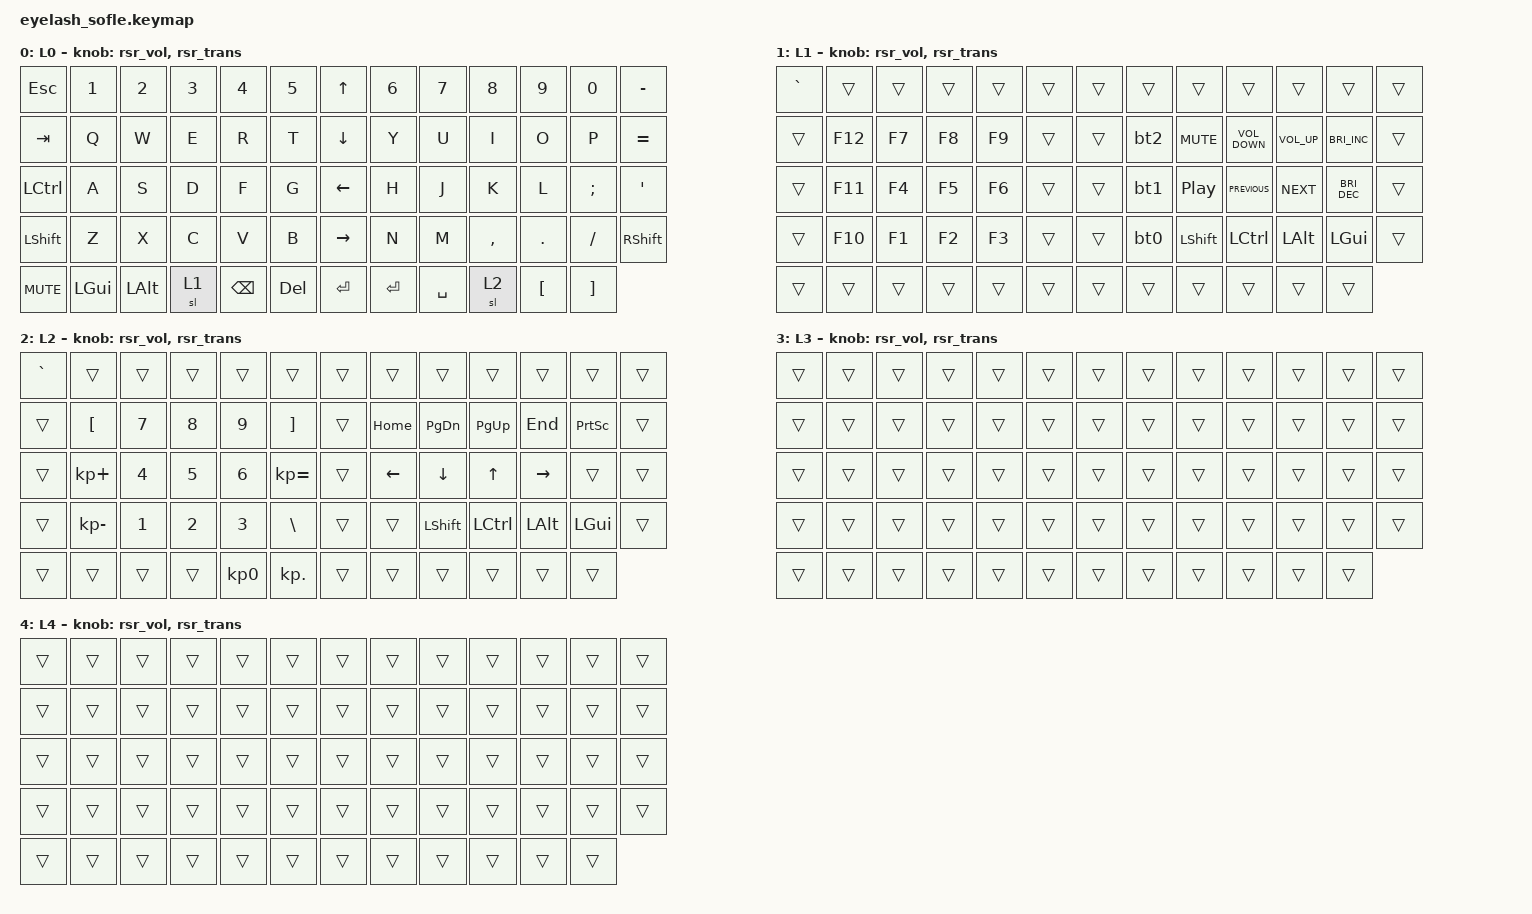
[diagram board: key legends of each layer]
#define ZMK_POINTING_DEFAULT_MOVE_VAL 1200  // 600
#define ZMK_POINTING_DEFAULT_SCRL_VAL 25   // 10

#include <input/processors.dtsi>
#include <zephyr/dt-bindings/input/input-event-codes.h>
#include <behaviors/runtime-sensor-rotate.dtsi>
#include <behaviors.dtsi>
#include <dt-bindings/zmk/bt.h>
#include <dt-bindings/zmk/keys.h>
#include <dt-bindings/zmk/outputs.h>
#include <dt-bindings/zmk/pointing.h>

&mmv_input_listener { input-processors = <&zip_xy_scaler 2 1>; };

&msc_input_listener { input-processors = <&zip_scroll_scaler 2 1>; };

&msc {
    acceleration-exponent = <1>;      // 0
    time-to-max-speed-ms = <100>;       // 300
    delay-ms = <0>;                   // 0
};

&mmv {
    time-to-max-speed-ms = <500>;
    acceleration-exponent = <1>;
    trigger-period-ms = <16>;
};

&soft_off { hold-time-ms = <2000>; };

/ {
    scroll_encoder: scroll_encoder {
        compatible = "zmk,behavior-sensor-rotate";
        #sensor-binding-cells = <0>;
        bindings = <&msc SCRL_DOWN>, <&msc SCRL_UP>;

        tap-ms = <100>;
    };

    behaviors {
        rsr_vol: rsr_vol {
            compatible = "zmk,behavior-runtime-sensor-rotate";
            #sensor-binding-cells = <0>;
            tap-ms = <5>;
            cw-binding = <&kp C_VOL_UP>;
            ccw-binding = <&kp C_VOL_DN>;
        };

        rsr_trans: rsr_trans {
            compatible = "zmk,behavior-runtime-sensor-rotate";
            #sensor-binding-cells = <0>;
            tap-ms = <0>;
        };

        bt0: bt0 {
            compatible = "zmk,behavior-mod-morph";
            label = "BT0";
            bindings = <&bt BT_SEL 0>, <&bt_clr_0>;

            #binding-cells = <0>;
            mods = <(MOD_LSFT|MOD_RSFT)>;
        };

        bt1: bt1 {
            compatible = "zmk,behavior-mod-morph";
            label = "BT1";
            bindings = <&bt BT_SEL 1>, <&bt_clr_1>;

            #binding-cells = <0>;
            mods = <(MOD_LSFT|MOD_RSFT)>;
        };

        bt2: bt2 {
            compatible = "zmk,behavior-mod-morph";
            label = "BT2";
            bindings = <&bt BT_SEL 2>, <&bt_clr_2>;

            #binding-cells = <0>;
            mods = <(MOD_LSFT|MOD_RSFT)>;
        };

        bt3: bt3 {
            compatible = "zmk,behavior-mod-morph";
            label = "BT3";
            bindings = <&bt BT_SEL 3>, <&bt_clr_3>;

            #binding-cells = <0>;
            mods = <(MOD_LSFT|MOD_RSFT)>;
        };

        bt4: bt4 {
            compatible = "zmk,behavior-mod-morph";
            label = "BT4";
            bindings = <&bt BT_SEL 4>, <&bt_clr_4>;

            #binding-cells = <0>;
            mods = <(MOD_LSFT|MOD_RSFT)>;
        };

        out_ble: out_ble {
            compatible = "zmk,behavior-mod-morph";
            label = "OUT_BLE";
            bindings = <&out OUT_BLE>, <&out OUT_USB>;

            #binding-cells = <0>;
            mods = <(MOD_LSFT|MOD_RSFT)>;
        };
    };

    combos {
        compatible = "zmk,combos";

        c_soft_off {
            bindings = <&soft_off>;
            key-positions = <14 28 40>;
        };

        bt_sel_3 {
            bindings = <&bt3>;
            key-positions = <46 33>;
            layers = <1>;
        };

        bt_sel_4 {
            bindings = <&bt4>;
            key-positions = <33 20>;
            layers = <1>;
        };

        bt_clr_all {
            bindings = <&bt BT_CLR_ALL>;
            key-positions = <20 33 46>;
        };
    };

    macros {
        bt_clr_0: bt_clr_0 {
            compatible = "zmk,behavior-macro";
            #binding-cells = <0>;
            bindings = <&bt BT_SEL 0 &bt BT_CLR>;
            label = "BT_CLR_0";
        };

        bt_clr_1: bt_clr_1 {
            compatible = "zmk,behavior-macro";
            #binding-cells = <0>;
            bindings = <&bt BT_SEL 1 &bt BT_CLR>;
            label = "BT_CLR_1";
        };

        bt_clr_2: bt_clr_2 {
            compatible = "zmk,behavior-macro";
            #binding-cells = <0>;
            bindings = <&bt BT_SEL 2 &bt BT_CLR>;
            label = "BT_CLR_2";
        };

        bt_clr_3: bt_clr_3 {
            compatible = "zmk,behavior-macro";
            #binding-cells = <0>;
            bindings = <&bt BT_SEL 3 &bt BT_CLR>;
            label = "BT_CLR_3";
        };

        bt_clr_4: bt_clr_4 {
            compatible = "zmk,behavior-macro";
            #binding-cells = <0>;
            bindings = <&bt BT_SEL 4 &bt BT_CLR>;
            label = "BT_CLR_4";
        };
    };

    keymap {
        compatible = "zmk,keymap";

        L0 {
            bindings = <
&kp ESCAPE  &kp N1    &kp N2    &kp N3  &kp N4         &kp N5        &kp UP_ARROW     &kp N6      &kp N7     &kp N8     &kp N9            &kp N0             &kp MINUS
&kp TAB     &kp Q     &kp W     &kp E   &kp R          &kp T         &kp DOWN_ARROW   &kp Y       &kp U      &kp I      &kp O             &kp P              &kp EQUAL
&kp LCTRL   &kp A     &kp S     &kp D   &kp F          &kp G         &kp LEFT_ARROW   &kp H       &kp J      &kp K      &kp L             &kp SEMICOLON      &kp APOSTROPHE
&kp LSHFT   &kp Z     &kp X     &kp C   &kp V          &kp B         &kp RIGHT_ARROW  &kp N       &kp M      &kp COMMA  &kp PERIOD        &kp SLASH          &kp RSHFT
&kp C_MUTE  &kp LGUI  &kp LALT  &sl 1   &kp BACKSPACE  &kp DELETE    &kp ENTER        &kp RETURN  &kp SPACE  &sl 2      &kp LEFT_BRACKET  &kp RIGHT_BRACKET
            >;

            sensor-bindings = <&rsr_vol &rsr_trans>;
            display-name = "L0";
        };

        L1 {
            display-name = "L1";
            bindings = <
&kp GRAVE  &trans   &trans  &trans  &trans  &trans    &trans  &trans  &trans            &trans             &trans           &trans                &trans
&trans     &kp F12  &kp F7  &kp F8  &kp F9  &trans    &trans  &bt2    &kp C_MUTE        &kp C_VOLUME_DOWN  &kp C_VOLUME_UP  &kp C_BRIGHTNESS_INC  &trans
&trans     &kp F11  &kp F4  &kp F5  &kp F6  &trans    &trans  &bt1    &kp C_PLAY_PAUSE  &kp C_PREVIOUS     &kp C_NEXT       &kp C_BRIGHTNESS_DEC  &trans
&trans     &kp F10  &kp F1  &kp F2  &kp F3  &trans    &trans  &bt0    &kp LSHFT         &kp LCTRL          &kp LALT         &kp LGUI              &trans
&trans     &trans   &trans  &trans  &trans  &trans    &trans  &trans  &trans            &trans             &trans           &trans
            >;

            sensor-bindings = <&rsr_vol>, <&rsr_trans>;
        };

        L2 {
            display-name = "L2";
            bindings = <
&kp GRAVE  &trans            &trans  &trans  &trans     &trans               &trans  &trans          &trans          &trans        &trans           &trans           &trans
&trans     &kp LEFT_BRACKET  &kp N7  &kp N8  &kp N9     &kp RIGHT_BRACKET    &trans  &kp HOME        &kp PAGE_DOWN   &kp PAGE_UP   &kp END          &kp PRINTSCREEN  &trans
&trans     &kp KP_PLUS       &kp N4  &kp N5  &kp N6     &kp KP_EQUAL         &trans  &kp LEFT_ARROW  &kp DOWN_ARROW  &kp UP_ARROW  &kp RIGHT_ARROW  &trans           &trans
&trans     &kp KP_MINUS      &kp N1  &kp N2  &kp N3     &kp BACKSLASH        &trans  &trans          &kp LSHFT       &kp LCTRL     &kp LALT         &kp LGUI         &trans
&trans     &trans            &trans  &trans  &kp KP_N0  &kp KP_DOT           &trans  &trans          &trans          &trans        &trans           &trans
            >;

            sensor-bindings = <&rsr_vol>, <&rsr_trans>;
        };

        L3 {
            bindings = <
&trans  &trans  &trans  &trans  &trans  &trans    &trans  &trans  &trans  &trans  &trans  &trans  &trans
&trans  &trans  &trans  &trans  &trans  &trans    &trans  &trans  &trans  &trans  &trans  &trans  &trans
&trans  &trans  &trans  &trans  &trans  &trans    &trans  &trans  &trans  &trans  &trans  &trans  &trans
&trans  &trans  &trans  &trans  &trans  &trans    &trans  &trans  &trans  &trans  &trans  &trans  &trans
&trans  &trans  &trans  &trans  &trans  &trans    &trans  &trans  &trans  &trans  &trans  &trans
            >;

            display-name = "L3";
            sensor-bindings = <&rsr_vol &rsr_trans>;
        };

        L4 {
            bindings = <
&trans  &trans  &trans  &trans  &trans  &trans    &trans  &trans  &trans  &trans  &trans  &trans  &trans
&trans  &trans  &trans  &trans  &trans  &trans    &trans  &trans  &trans  &trans  &trans  &trans  &trans
&trans  &trans  &trans  &trans  &trans  &trans    &trans  &trans  &trans  &trans  &trans  &trans  &trans
&trans  &trans  &trans  &trans  &trans  &trans    &trans  &trans  &trans  &trans  &trans  &trans  &trans
&trans  &trans  &trans  &trans  &trans  &trans    &trans  &trans  &trans  &trans  &trans  &trans
            >;

            display-name = "L4";
            sensor-bindings = <&rsr_vol &rsr_trans>;
        };
    };
};
